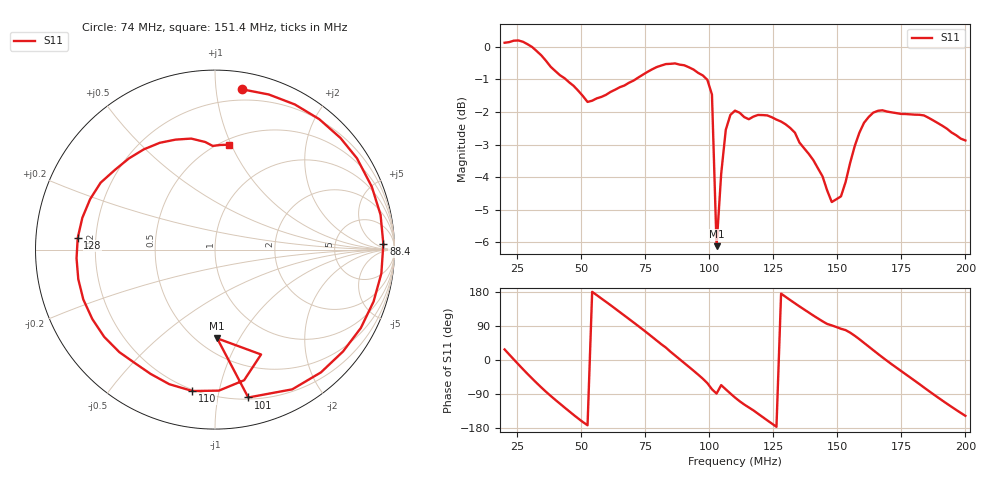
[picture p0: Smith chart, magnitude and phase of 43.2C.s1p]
# HZ S RI R 50
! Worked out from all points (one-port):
!   101 points, 20 MHz to 200 MHz, reference 50 ohm
!   lowest |S11| = -6.1 dB at 102.8 MHz (marker M1), VSWR 2.96, Z = 30.9 - j40.5 ohm
!   |S11| at or under -10 dB: nowhere
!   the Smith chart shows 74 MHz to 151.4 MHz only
!   S11 on the Smith chart (normalised r, x): 74 MHz: 0.12, +1.18; 88.4 MHz: 25, +13; 101 MHz: 0.21, -1.23; 110 MHz: 0.19, -0.83; 128 MHz: 0.13, +0.04; 151.4 MHz: 0.55, +0.98
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2e7  0.8964 0.4737
2.54e7  1.001 -0.2065
3.26e7  0.474 -0.8622
3.8e7  -0.0764 -0.9283
4.34e7  -0.5164 -0.7306
4.88e7  -0.7728 -0.3672
5.42e7  -0.8263 0.0013
5.96e7  -0.7553 0.3757
6.5e7  -0.5141 0.6977
7.4e7  0.1516 0.8929
8.12e7  0.6988 0.6221
8.84e7  0.938 0.0311
9.56e7  0.7133 -0.5675
1.01e8  0.1853 -0.8239
1.028e8  0.012 -0.4944
1.046e8  0.2566 -0.5844
1.1e8  -0.1255 -0.7879
1.208e8  -0.6836 -0.3868
1.28e8  -0.7649 0.0653
1.334e8  -0.6371 0.3729
1.406e8  -0.3078 0.595
1.514e8  0.0781 0.5844
1.55e8  0.2031 0.6321
1.604e8  0.5392 0.5416
1.676e8  0.7929 0.0972
1.784e8  0.5478 -0.5658
1.874e8  0.00103 -0.7709
2e8  -0.6044 -0.3879
